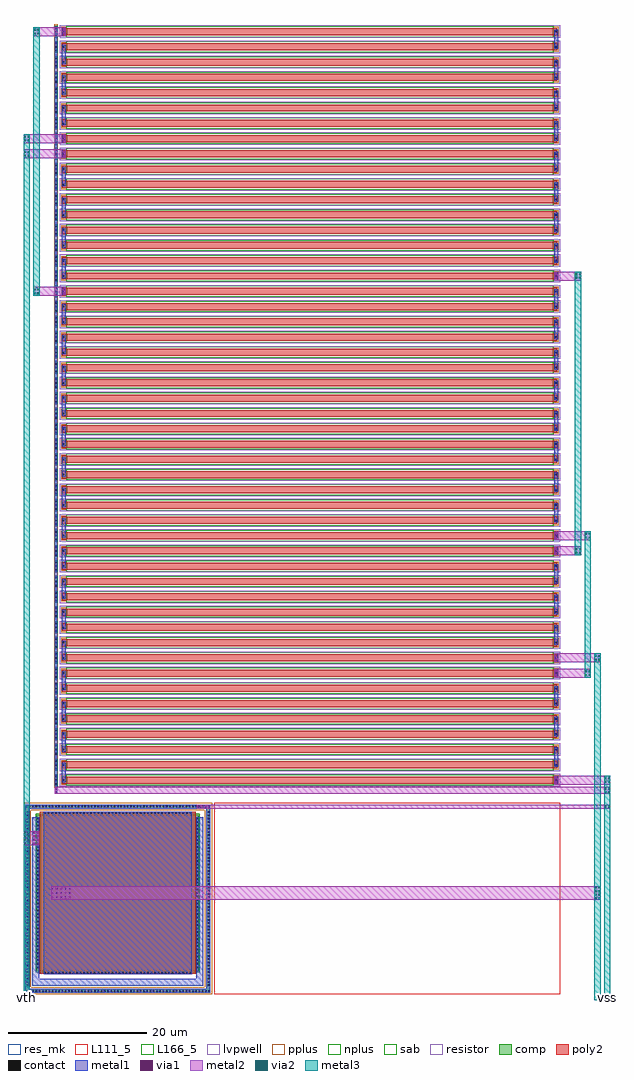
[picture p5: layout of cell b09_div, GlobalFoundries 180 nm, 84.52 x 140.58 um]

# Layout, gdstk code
import gdstk
lib = gdstk.Library(unit=1e-6, precision=1e-09)
def R(c, l, rs):  # rectangles x0, y0, x1, y1
    for r in rs: c.add(gdstk.rectangle(r[:2], r[2:], *l))
def A(c, l, x, y, w, h, nx, ny, dx, dy):  # array of equal rectangles
    R(c, l, [(x+i*dx, y+j*dy, x+i*dx+w, y+j*dy+h) for i in range(nx) for j in range(ny)])
def P(c, l, *ps):  # polygons
    for p in ps: c.add(gdstk.Polygon(p, *l))
comp = (22, 0)
poly2 = (30, 0)
pplus = (31, 0)
nplus = (32, 0)
contact = (33, 0)
metal1 = (34, 0)
via1 = (35, 0)
metal2 = (36, 0)
via2 = (38, 0)
metal3 = (42, 0)
sab = (49, 0)
resistor = (62, 0)
res_mk = (110, 5)
L111_5 = (111, 5)
L166_5 = (166, 5)
lvpwell = (204, 0)

cap_nmos = lib.new_cell('cap_nmos')
R(cap_nmos, comp, [(0,0,23.3,22.42)])
R(cap_nmos, poly2, [(0.44,-0.46,22.86,22.88)])
R(cap_nmos, nplus, [(-0.16,-0.23,23.46,22.65)])
A(cap_nmos, contact, 1.085, -0.39, 0.22, 0.22, 42, 2, 0.51, 22.98)
A(cap_nmos, contact, 0.07, 0.39, 0.22, 0.22, 1, 43, 0, 0.51)
A(cap_nmos, contact, 23.01, 0.39, 0.22, 0.22, 1, 43, 0, 0.51)
R(cap_nmos, metal1, [(1.005,-0.47,22.295,22.89)])
P(cap_nmos, metal1, [(-0.63,-2.13),(-0.63,22.11),(0.37,22.11),(0.37,-1.13),(22.95,-1.13),(22.95,0.31),(22.93,0.31),(22.93,22.11),(23.95,22.11),(23.95,-2.13)])
R(cap_nmos, L166_5, [(0,0,23.3,22.42)])
R(cap_nmos, lvpwell, [(0,0,23.3,22.42)])

ppolyf_u_high_rs_resisto = lib.new_cell('ppolyf_u_high_Rs_resistor')
R(ppolyf_u_high_rs_resisto, comp, [(-1.76,0,-1.34,1)])
R(ppolyf_u_high_rs_resisto, poly2, [(-0.64,0,70.64,1)])
R(ppolyf_u_high_rs_resisto, pplus, [(-0.82,-0.18,0,1.18), (70,-0.18,70.82,1.18), (-1.78,-0.02,-1.32,1.02)])
R(ppolyf_u_high_rs_resisto, contact, [(-1.66,0.39,-1.44,0.61), (-0.57,0.39,-0.35,0.61), (70.35,0.39,70.57,0.61)])
R(ppolyf_u_high_rs_resisto, metal1, [(-1.74,0.31,-1.36,0.69), (-0.65,0.31,-0.27,0.69), (70.27,0.31,70.65,0.69)])
R(ppolyf_u_high_rs_resisto, sab, [(-0.1,-0.28,70.1,1.28)])
R(ppolyf_u_high_rs_resisto, resistor, [(-1.04,-0.4,71.04,1.4)])
R(ppolyf_u_high_rs_resisto, res_mk, [(0,0,70,1)])

b09_div = lib.new_cell('b09_div')
A(b09_div, comp, 4.47, 30.83, 0.42, 1.7, 1, 50, 0, 2.2)
R(b09_div, comp, [(0.23,1.03,26.91,1.63), (0.23,1.63,0.83,27.55), (26.31,1.63,26.91,27.55), (0.23,27.55,26.91,28.15)])
A(b09_div, pplus, 4.45, 30.58, 0.46, 2.2, 1, 50, 0, 2.2)
R(b09_div, pplus, [(0,0.8,27.14,1.86), (0,1.86,1.06,27.32), (26.08,1.86,27.14,27.32), (0,27.32,27.14,28.38)])
A(b09_div, contact, 0.3, 1.22, 0.22, 0.22, 57, 2, 0.47, 26.52)
A(b09_div, contact, 0.42, 2.025, 0.22, 0.22, 1, 54, 0, 0.47)
A(b09_div, contact, 26.5, 2.025, 0.22, 0.22, 1, 54, 0, 0.47)
A(b09_div, contact, 4.57, 31.02, 0.22, 0.22, 1, 100, 0, 1.1)
A(b09_div, metal1, 5.48, 31.38, 0.58, 0.6, 1, 50, 0, 2.2)
A(b09_div, metal1, 5.48, 31.38, 0.58, 2.8, 1, 16, 0, 4.4)
A(b09_div, metal1, 76.4, 31.38, 0.58, 0.6, 1, 50, 0, 2.2)
A(b09_div, metal1, 76.4, 33.58, 0.58, 2.8, 1, 3, 0, 4.4)
A(b09_div, metal1, 76.4, 51.18, 0.58, 2.8, 1, 3, 0, 4.4)
A(b09_div, metal1, 76.4, 68.78, 0.58, 2.8, 1, 8, 0, 4.4)
A(b09_div, metal1, 5.48, 103.98, 0.58, 2.8, 1, 4, 0, 4.4)
A(b09_div, metal1, 76.4, 106.18, 0.58, 2.8, 1, 8, 0, 4.4)
A(b09_div, metal1, 5.48, 125.98, 0.58, 2.8, 1, 3, 0, 4.4)
R(b09_div, metal1, [(0.23,1.03,26.91,1.63), (0.23,1.63,0.83,27.55), (26.31,1.63,26.91,27.55), (0.23,27.55,26.91,28.15), (4.49,29.68,4.87,30.68), (4.49,29.68,4.87,140.2), (76.4,31.03,76.98,32.33), (76.4,46.43,76.98,47.73), (76.4,48.63,76.98,49.93), (76.4,64.03,76.98,65.33), (76.4,66.23,76.98,67.53), (5.48,101.43,6.06,102.73), (76.4,103.63,76.98,104.93), (5.48,121.23,6.06,122.53), (5.48,123.43,6.06,124.73), (5.48,138.83,6.06,140.13)])
A(b09_div, via1, 4.045, 14.67, 0.26, 0.26, 5, 3, 0.62, 0.62)
A(b09_div, via1, 1.39, 22.41, 0.26, 0.26, 1, 4, 0, 0.52)
A(b09_div, via1, 1.91, 22.41, 0.26, 0.26, 1, 4, 0, 0.52)
A(b09_div, via1, 25, 27.72, 0.26, 0.26, 4, 1, 0.52, 0)
R(b09_div, via1, [(4.55,29.79,4.81,30.05), (4.55,30.31,4.81,30.57), (76.56,31.29,76.82,31.55), (76.56,31.81,76.82,32.07), (76.56,46.69,76.82,46.95), (76.56,47.21,76.82,47.47), (76.56,48.89,76.82,49.15), (76.56,49.41,76.82,49.67), (76.56,64.29,76.82,64.55), (76.56,64.81,76.82,65.07), (76.56,66.49,76.82,66.75), (76.56,67.01,76.82,67.27), (5.64,101.69,5.9,101.95), (5.64,102.21,5.9,102.47), (76.56,103.89,76.82,104.15), (76.56,104.41,76.82,104.67), (5.64,121.49,5.9,121.75), (5.64,122.01,5.9,122.27), (5.64,123.69,5.9,123.95), (5.64,124.21,5.9,124.47), (5.64,139.09,5.9,139.35), (5.64,139.61,5.9,139.87)])
R(b09_div, metal2, [(3.915,14.42,83.12,16.42), (0,22.32,2.28,24.32), (24.91,27.55,84.52,28.15), (4.49,29.68,84.52,30.68), (76.4,31.03,84.52,32.33), (76.4,46.43,81.72,47.73), (76.4,48.63,83.12,49.93), (76.4,64.03,80.32,65.33), (76.4,66.23,81.72,67.53), (1.4,101.43,6.06,102.73), (76.4,103.63,80.32,104.93), (0,121.23,6.06,122.53), (0,123.43,6.06,124.73), (1.4,138.83,6.06,140.13)])
A(b09_div, via2, 82.28, 14.51, 0.26, 0.26, 1, 4, 0, 0.52)
A(b09_div, via2, 82.8, 14.51, 0.26, 0.26, 1, 4, 0, 0.52)
A(b09_div, via2, 0.06, 22.41, 0.26, 0.26, 1, 4, 0, 0.52)
A(b09_div, via2, 0.58, 22.41, 0.26, 0.26, 1, 4, 0, 0.52)
R(b09_div, via2, [(83.68,27.72,83.94,27.98), (84.2,27.72,84.46,27.98), (83.68,29.79,83.94,30.05), (84.2,29.79,84.46,30.05), (83.68,30.31,83.94,30.57), (84.2,30.31,84.46,30.57), (83.68,31.29,83.94,31.55), (84.2,31.29,84.46,31.55), (83.68,31.81,83.94,32.07), (84.2,31.81,84.46,32.07), (80.88,46.69,81.14,46.95), (81.4,46.69,81.66,46.95), (80.88,47.21,81.14,47.47), (81.4,47.21,81.66,47.47), (82.28,48.89,82.54,49.15), (82.8,48.89,83.06,49.15), (82.28,49.41,82.54,49.67), (82.8,49.41,83.06,49.67), (79.48,64.29,79.74,64.55), (80,64.29,80.26,64.55), (79.48,64.81,79.74,65.07), (80,64.81,80.26,65.07), (80.88,66.49,81.14,66.75), (81.4,66.49,81.66,66.75), (80.88,67.01,81.14,67.27), (81.4,67.01,81.66,67.27), (1.46,101.69,1.72,101.95), (1.98,101.69,2.24,101.95), (1.46,102.21,1.72,102.47), (1.98,102.21,2.24,102.47), (79.48,103.89,79.74,104.15), (80,103.89,80.26,104.15), (79.48,104.41,79.74,104.67), (80,104.41,80.26,104.67), (0.06,121.49,0.32,121.75), (0.58,121.49,0.84,121.75), (0.06,122.01,0.32,122.27), (0.58,122.01,0.84,122.27), (0.06,123.69,0.32,123.95), (0.58,123.69,0.84,123.95), (0.06,124.21,0.32,124.47), (0.58,124.21,0.84,124.47), (1.46,139.09,1.72,139.35), (1.98,139.09,2.24,139.35), (1.46,139.61,1.72,139.87), (1.98,139.61,2.24,139.87)])
R(b09_div, metal3, [(0,0,0.9,124.73), (0,0,0.9,0.6), (82.22,0,83.12,0.6), (82.22,0,83.12,49.93), (83.62,0,84.52,32.33), (83.62,0,84.52,0.6), (80.82,46.43,81.72,67.53), (79.42,64.03,80.32,104.93), (1.4,101.43,2.3,140.13)])
R(b09_div, L111_5, [(27.44,0.8,77.27,28.38)])
b09_div.add(gdstk.Reference(cap_nmos, (1.91,4.21)))
b09_div.add(gdstk.Reference(ppolyf_u_high_rs_resisto, (6.23,31.18)))
b09_div.add(gdstk.Reference(ppolyf_u_high_rs_resisto, (6.23,33.38)))
b09_div.add(gdstk.Reference(ppolyf_u_high_rs_resisto, (6.23,35.58)))
b09_div.add(gdstk.Reference(ppolyf_u_high_rs_resisto, (6.23,37.78)))
b09_div.add(gdstk.Reference(ppolyf_u_high_rs_resisto, (6.23,39.98)))
b09_div.add(gdstk.Reference(ppolyf_u_high_rs_resisto, (6.23,42.18)))
b09_div.add(gdstk.Reference(ppolyf_u_high_rs_resisto, (6.23,44.38)))
b09_div.add(gdstk.Reference(ppolyf_u_high_rs_resisto, (6.23,46.58)))
b09_div.add(gdstk.Reference(ppolyf_u_high_rs_resisto, (6.23,48.78)))
b09_div.add(gdstk.Reference(ppolyf_u_high_rs_resisto, (6.23,50.98)))
b09_div.add(gdstk.Reference(ppolyf_u_high_rs_resisto, (6.23,53.18)))
b09_div.add(gdstk.Reference(ppolyf_u_high_rs_resisto, (6.23,55.38)))
b09_div.add(gdstk.Reference(ppolyf_u_high_rs_resisto, (6.23,57.58)))
b09_div.add(gdstk.Reference(ppolyf_u_high_rs_resisto, (6.23,59.78)))
b09_div.add(gdstk.Reference(ppolyf_u_high_rs_resisto, (6.23,61.98)))
b09_div.add(gdstk.Reference(ppolyf_u_high_rs_resisto, (6.23,64.18)))
b09_div.add(gdstk.Reference(ppolyf_u_high_rs_resisto, (6.23,66.38)))
b09_div.add(gdstk.Reference(ppolyf_u_high_rs_resisto, (6.23,68.58)))
b09_div.add(gdstk.Reference(ppolyf_u_high_rs_resisto, (6.23,70.78)))
b09_div.add(gdstk.Reference(ppolyf_u_high_rs_resisto, (6.23,72.98)))
b09_div.add(gdstk.Reference(ppolyf_u_high_rs_resisto, (6.23,75.18)))
b09_div.add(gdstk.Reference(ppolyf_u_high_rs_resisto, (6.23,77.38)))
b09_div.add(gdstk.Reference(ppolyf_u_high_rs_resisto, (6.23,79.58)))
b09_div.add(gdstk.Reference(ppolyf_u_high_rs_resisto, (6.23,81.78)))
b09_div.add(gdstk.Reference(ppolyf_u_high_rs_resisto, (6.23,83.98)))
b09_div.add(gdstk.Reference(ppolyf_u_high_rs_resisto, (6.23,86.18)))
b09_div.add(gdstk.Reference(ppolyf_u_high_rs_resisto, (6.23,88.38)))
b09_div.add(gdstk.Reference(ppolyf_u_high_rs_resisto, (6.23,90.58)))
b09_div.add(gdstk.Reference(ppolyf_u_high_rs_resisto, (6.23,92.78)))
b09_div.add(gdstk.Reference(ppolyf_u_high_rs_resisto, (6.23,94.98)))
b09_div.add(gdstk.Reference(ppolyf_u_high_rs_resisto, (6.23,97.18)))
b09_div.add(gdstk.Reference(ppolyf_u_high_rs_resisto, (6.23,99.38)))
b09_div.add(gdstk.Reference(ppolyf_u_high_rs_resisto, (6.23,101.58)))
b09_div.add(gdstk.Reference(ppolyf_u_high_rs_resisto, (6.23,103.78)))
b09_div.add(gdstk.Reference(ppolyf_u_high_rs_resisto, (6.23,105.98)))
b09_div.add(gdstk.Reference(ppolyf_u_high_rs_resisto, (6.23,108.18)))
b09_div.add(gdstk.Reference(ppolyf_u_high_rs_resisto, (6.23,110.38)))
b09_div.add(gdstk.Reference(ppolyf_u_high_rs_resisto, (6.23,112.58)))
b09_div.add(gdstk.Reference(ppolyf_u_high_rs_resisto, (6.23,114.78)))
b09_div.add(gdstk.Reference(ppolyf_u_high_rs_resisto, (6.23,116.98)))
b09_div.add(gdstk.Reference(ppolyf_u_high_rs_resisto, (6.23,119.18)))
b09_div.add(gdstk.Reference(ppolyf_u_high_rs_resisto, (6.23,121.38)))
b09_div.add(gdstk.Reference(ppolyf_u_high_rs_resisto, (6.23,123.58)))
b09_div.add(gdstk.Reference(ppolyf_u_high_rs_resisto, (6.23,125.78)))
b09_div.add(gdstk.Reference(ppolyf_u_high_rs_resisto, (6.23,127.98)))
b09_div.add(gdstk.Reference(ppolyf_u_high_rs_resisto, (6.23,130.18)))
b09_div.add(gdstk.Reference(ppolyf_u_high_rs_resisto, (6.23,132.38)))
b09_div.add(gdstk.Reference(ppolyf_u_high_rs_resisto, (6.23,134.58)))
b09_div.add(gdstk.Reference(ppolyf_u_high_rs_resisto, (6.23,136.78)))
b09_div.add(gdstk.Reference(ppolyf_u_high_rs_resisto, (6.23,138.98)))
b09_div.add(gdstk.Label('vss', (84.07,0.3), layer=42, texttype=10))
b09_div.add(gdstk.Label('vth', (0.45,0.3), layer=42, texttype=10))
b09_div.add(gdstk.Label('vdd', (82.67,0.3), layer=42, texttype=10))

lib.write_gds('b09_div.gds')
